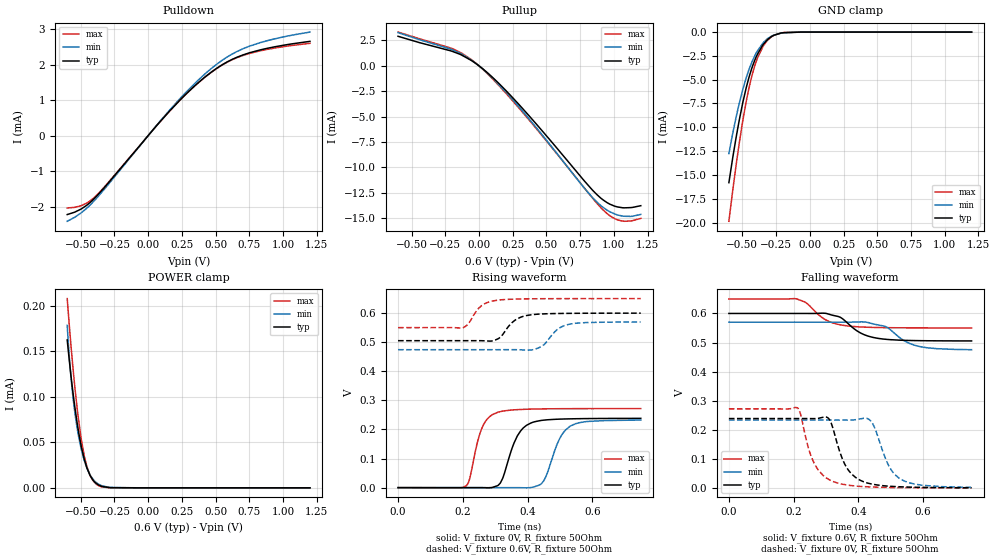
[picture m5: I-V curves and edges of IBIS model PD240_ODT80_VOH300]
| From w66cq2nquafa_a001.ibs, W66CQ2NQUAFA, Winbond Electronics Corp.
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[Model]   PD240_ODT80_VOH300
Model_type   I/O
Polarity   Non-Inverting
Enable   Active-Low
Vinl = 0.08
Vinh = 0.22
Vmeas = 0.15
Vref = 0
Cref = 0pF
Rref = 80
|   typ   min   max
C_comp   0.85pF   0.80pF   0.90pF
[Voltage Range]   0.6   0.57   0.65
[Temperature Range]   25   95   -40
[Pullup Reference]   0.6   0.57   0.65
[Pulldown Reference]   0   0   0
[Power Clamp Reference]   0.6   0.57   0.65
[GND Clamp Reference]   0   0   0
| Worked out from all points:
|   slope of the pulldown table from 0 to 0.09 V, typ, clamps not added: 224 ohm
|   slope of the pullup table from 0 to 0.09 V, typ, clamps not added: 89.1 ohm
|   GND clamp passes 1 mA (typ) near -0.33 V on its own axis
|   falling waveform, V_fixture 0.6V, R_fixture 50Ohm: 20-80 % time 72.3ps typ, 73.8ps min, 68.8ps max; typ from 0.6 V to 0.505 V
|   rising waveform, V_fixture 0V, R_fixture 50Ohm: 20-80 % time 48ps typ, 49ps min, 38.5ps max; typ from 0 V to 0.238 V
|   rising waveform, V_fixture 0.6V, R_fixture 50Ohm: 20-80 % time 47.6ps typ, 49.2ps min, 42.8ps max; typ from 0.505 V to 0.6 V
|   falling waveform, V_fixture 0V, R_fixture 50Ohm: 20-80 % time 53.9ps typ, 53.9ps min, 53ps max; typ from 0.238 V to 0 V
[Pulldown]
|   Voltage   I(typ)   I(min)   I(max)
-600mV    -2.227mA   -2.416mA   -2.041mA
-496.6mV  -2.07mA    -2.179mA   -1.978mA
-454.4mV  -1.962mA   -2.045mA   -1.902mA
-400.4mV  -1.779mA   -1.841mA   -1.748mA
-312.1mV  -1.411mA   -1.455mA   -1.396mA
163.8mV   714.3uA    739.9uA    712.7uA
353.6mV   1.435mA    1.503mA    1.43mA
510.9mV   1.909mA    2.022mA    1.901mA
625.2mV   2.158mA    2.308mA    2.147mA
758.3mV   2.347mA    2.536mA    2.328mA
937.9mV   2.508mA    2.733mA    2.473mA
1.2V      2.663mA    2.925mA    2.607mA
[GND Clamp]
|   Voltage   I(typ)   I(min)   I(max)
-600mV    -15.82mA   -12.76mA   -19.87mA
-570.7mV  -13.14mA   -10.59mA   -16.56mA
-523.3mV  -9.272mA   -7.503mA   -11.69mA
-496.6mV  -7.402mA   -6.02mA    -9.284mA
-454.4mV  -4.937mA   -4.077mA   -6.092mA
-432mV    -3.89mA    -3.248mA   -4.736mA
-386.8mV  -2.299mA   -1.952mA   -2.678mA
-342.9mV  -1.253mA   -1.083mA   -1.413mA
-286.2mV  -484.9uA   -455.6uA   -525.4uA
-193.8mV  -68.44uA   -75.1uA    -52.26uA
-59.4mV   -1.348uA   -3.103uA   -525.9nA
1.2V      0A         0A         0A
[Pullup]
|   Voltage   I(typ)   I(min)   I(max)
-600mV    2.903mA    3.266mA    3.32mA
-194.4mV  1.403mA    1.565mA    1.675mA
-42.95mV  403.5uA    435.7uA    475.9uA
84.45mV   -941.7uA   -999.6uA   -1.068mA
228.1mV   -2.828mA   -2.999mA   -3.118mA
443.4mV   -6.007mA   -6.381mA   -6.476mA
784.2mV   -11.37mA   -12.08mA   -12.07mA
898.5mV   -12.96mA   -13.69mA   -13.88mA
969.8mV   -13.61mA   -14.36mA   -14.74mA
1.028V    -13.89mA   -14.68mA   -15.16mA
1.125V    -13.95mA   -14.82mA   -15.27mA
1.2V      -13.76mA   -14.62mA   -15.01mA
[POWER Clamp]
|   Voltage   I(typ)   I(min)   I(max)
-600mV    162.4uA    178.3uA    207.7uA
-586.9mV  143.3uA    148.5uA    182.7uA
-579mV    132.3uA    133.4uA    168.4uA
-555mV    101.8uA    96.65uA    128.1uA
-522.6mV  67.71uA    62.38uA    82.43uA
-496.6mV  46.22uA    42.84uA    53.98uA
-473.3mV  31.28uA    29.88uA    34.84uA
-454.4mV  22.14uA    21.81uA    23.49uA
-431.6mV  14.03uA    14.61uA    13.95uA
-386.8mV  5.209uA    6.088uA    4.253uA
-277.9mV  198.5nA    403.6nA    63.52nA
1.2V      0A         0A         0A
[Ramp]
R_load = 50
|   typ   min   max
dV/dt_r 1.4295E-01/4.7710E-11   1.3945E-01/4.8930E-11   1.6308E-01/3.8432E-11
dV/dt_f 5.6752E-02/7.2245E-11   5.6811E-02/7.3811E-11   5.9869E-02/6.8541E-11
[Falling Waveform]
V_fixture = 0.6V
V_fixture_min = 0.57V
V_fixture_max = 0.65V
R_fixture = 50Ohm
C_fixture = 0F
|   Time   V(typ)   V(min)   V(max)
0s        600mV      570mV      650mV
209ps     600mV      570mV      650.2mV
240ps     600mV      570mV      635.7mV
298ps     600.6mV    570mV      578.8mV
346ps     585.7mV    570mV      560.6mV
423ps     524.9mV    570.3mV    552.8mV
485ps     511.1mV    554.5mV    551.1mV
541ps     507.5mV    506.6mV    550.6mV
586ps     506.5mV    487mV      550.4mV
750ps     505.4mV    475.3mV    550.2mV
[Rising Waveform]
V_fixture = 0V
V_fixture_min = 0V
V_fixture_max = 0V
R_fixture = 50Ohm
C_fixture = 0F
|   Time   V(typ)   V(min)   V(max)
0s        8.405uV    27.91uV    1.644uV
210ps     8.358uV    27.92uV    6.073mV
259ps     -79.76uV   27.95uV    204.2mV
309ps     7.86mV     28.55uV    259.4mV
368ps     176.5mV    -45.37uV   268.2mV
410ps     221.9mV    238.9uV    270mV
450ps     232mV      23.3mV     270.8mV
497ps     235.5mV    163.3mV    271.3mV
532ps     236.5mV    211.5mV    271.5mV
750ps     238.3mV    232.4mV    271.8mV
[Rising Waveform]
V_fixture = 0.6V
V_fixture_min = 0.57V
V_fixture_max = 0.65V
R_fixture = 50Ohm
C_fixture = 0F
|   Time   V(typ)   V(min)   V(max)
0s        505.3mV    474.3mV    550.2mV
200ps     505.3mV    474.3mV    549.6mV
258ps     505.3mV    474.3mV    625.6mV
309ps     511.9mV    474.3mV    644.7mV
360ps     574.5mV    474.4mV    648.3mV
397ps     591.7mV    473mV      649.1mV
443ps     597.1mV    485.2mV    649.6mV
491ps     598.7mV    542.7mV    649.8mV
525ps     599.2mV    560.9mV    649.9mV
750ps     600mV      569.7mV    650mV
[Falling Waveform]
|Gnd
V_fixture = 0V
V_fixture_min = 0V
V_fixture_max = 0V
R_fixture = 50Ohm
C_fixture = 0F
|   Time   V(typ)   V(min)   V(max)
0s        238.4mV    233.3mV    271.8mV
212ps     238.4mV    233.3mV    275.1mV
254ps     238.2mV    233.3mV    108.9mV
302ps     243.4mV    233.3mV    33.43mV
368ps     62.78mV    233mV      9.166mV
427ps     16.93mV    238.7mV    3.653mV
450ps     11.3mV     207.8mV    2.549mV
497ps     5.45mV     69.85mV    1.268mV
525ps     3.781mV    33.98mV    817.7uV
750ps     252.1uV    1.606mV    -1.078uV
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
